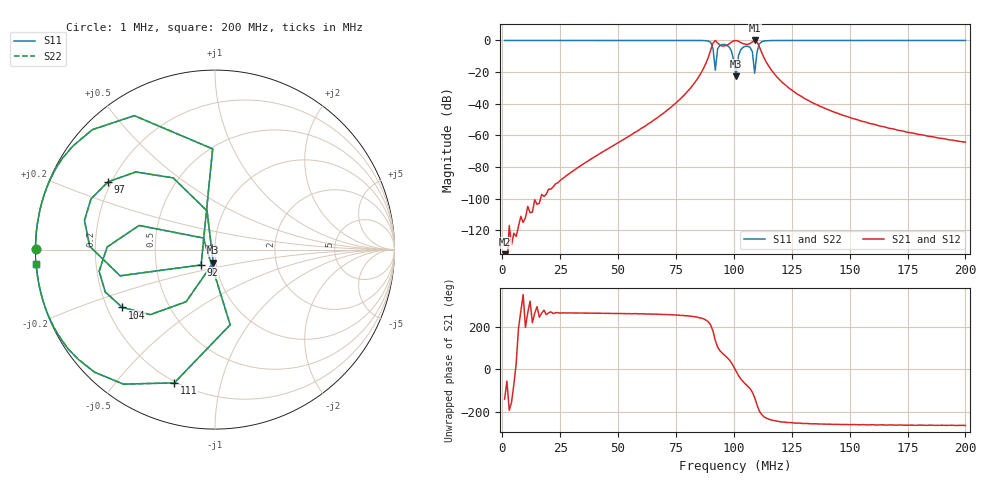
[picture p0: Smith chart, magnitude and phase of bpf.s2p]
# GHZ S MA R 50
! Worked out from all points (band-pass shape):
!   200 points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, 1 MHz to 200 MHz, reference 50 ohm
!   highest |S21| = -0.02 dB at 109 MHz (marker M1); lowest = -163.6 dB at 1 MHz (marker M2)
!   |S21| within 3 dB of the highest: 90.7 MHz to 94.14 MHz (3.445 MHz wide, 3.73 % of centre); 96.89 MHz to 110.7 MHz (13.8 MHz wide, 13.3 % of centre)
!   lowest |S11| = -22.7 dB at 101 MHz (marker M3), VSWR 1.16, Z = 48.5 - j7.08 ohm
!   |S11| at or under -10 dB: 91.36 MHz to 92.65 MHz (1.284 MHz wide, 1.4 % of centre); 99.51 MHz to 102 MHz (2.454 MHz wide, 2.44 % of centre); 108.2 MHz to 109.8 MHz (1.589 MHz wide, 1.46 % of centre)
!   |S22| runs from -22.7 to 0.0 dB; largest |S21 - S12| = 0
!   S11 on the Smith chart (normalised r, x): 1 MHz: 0.00, +0.00; 92 MHz: 0.84, -0.15; 97 MHz: 0.19, +0.28; 104 MHz: 0.26, -0.27; 111 MHz: 0.19, -0.72; 200 MHz: 0.00, -0.04
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0.001  1 179.9  6.6e-09 -140.9  6.6e-09 -140.9  1 179.9
0.035  1 177.3  0.0001254 -92.7  0.0001254 -92.7  1 177.3
0.068  0.9999 171.3  0.004136 -98.7  0.004136 -98.7  0.9999 171.3
0.082  0.9992 161.5  0.03633 -108.1  0.03633 -108.1  0.9993 161.5
0.088  0.9795 143.9  0.1944 -126.6  0.1944 -126.6  0.9798 143.9
0.09  0.8713 121.1  0.4888 -149.1  0.4888 -149.1  0.8712 121.1
0.091  0.5613 91.3  0.8277 -178.7  0.8277 -178.7  0.5613 91.3
0.092  0.1153 -132.2  0.9946 136.8  0.9946 136.8  0.1153 -132.2
0.093  0.5483 -164.6  0.8353 105.6  0.8353 105.6  0.5483 -164.6
0.097  0.7059 147.7  0.7111 57.3  0.7111 57.3  0.7057 147.6
0.099  0.4628 120.3  0.886 30.7  0.886 30.7  0.4632 120.3
0.101  0.07319 -97.6  0.9933 -9.0  0.9933 -9.0  0.07345 -97.6
0.102  0.3321 -119.0  0.9464 -28.8  0.9464 -28.8  0.3323 -119.1
0.104  0.609 -148.1  0.7926 -57.9  0.7926 -57.9  0.6088 -148.1
0.108  0.4436 162.3  0.8945 -107.9  0.8945 -107.9  0.4436 162.3
0.109  0.09179 135.3  0.9977 -133.9  0.9977 -133.9  0.09167 135.3
0.11  0.4275 -78.6  0.9016 -168.4  0.9016 -168.4  0.4276 -78.6
0.111  0.7762 -107.0  0.6327 162.9  0.6327 162.9  0.7764 -107.0
0.116  0.9918 -149.4  0.1221 120.9  0.1221 120.9  0.9915 -149.4
0.134  0.9998 -167.7  0.01072 102.3  0.01072 102.3  0.9998 -167.7
0.167  1 -173.5  0.00168 96.7  0.00168 96.7  1 -173.5
0.2  1 -175.4  0.000612 94.4  0.000612 94.4  1 -175.4
